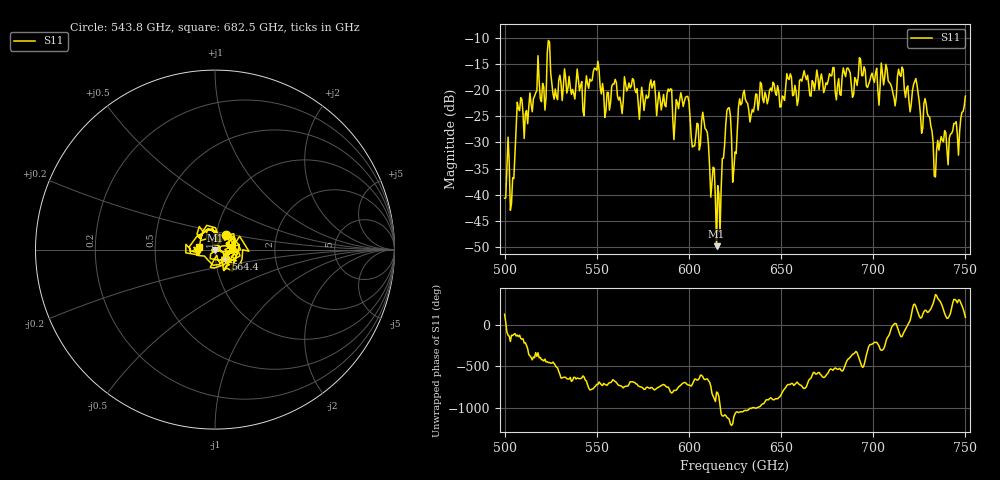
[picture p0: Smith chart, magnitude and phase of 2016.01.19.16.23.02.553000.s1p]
!Created with skrf (http://scikit-rf.org).
# GHz S RI R 50.0
!freq ReS11 ImS11
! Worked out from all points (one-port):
!   401 points, 500 GHz to 750 GHz, reference 50 ohm
!   lowest |S11| = -49.9 dB at 615 GHz (marker M1), VSWR 1.01, Z = 50 - j0.321 ohm
!   |S11| at or under -10 dB: start of sweep to end of sweep
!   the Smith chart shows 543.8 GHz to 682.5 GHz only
!   S11 on the Smith chart (normalised r, x): 543.8 GHz: 1.12, +0.18; 564.4 GHz: 1.11, -0.12; 682.5 GHz: 0.84, +0.03
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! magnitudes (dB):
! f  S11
! 500 GHz  -40.7
! 504.4 GHz  -36.8
! 508.1 GHz  -23.9
! 521.2 GHz  -19.4
! 524.4 GHz  -10.8
! 527.5 GHz  -19.8
! 531.2 GHz  -22.0
! 543.8 GHz  -19.9
! 550 GHz  -16.2
! 562.5 GHz  -21.3
! 564.4 GHz  -22.1
! 593.8 GHz  -22.4
! 598.8 GHz  -21.2
! 602.5 GHz  -30.7
! 608.8 GHz  -27.4
! 615 GHz  -49.9
! 616.2 GHz  -39.8
! 621.2 GHz  -23.5
! 625 GHz  -31.9
! 628.8 GHz  -22.5
! 656.2 GHz  -21.1
! 682.5 GHz  -21.0
! 687.5 GHz  -16.7
! 715 GHz  -17.4
! 718.8 GHz  -19.2
! 723.1 GHz  -17.8
! 734.4 GHz  -31.5
! 750 GHz  -21.2
